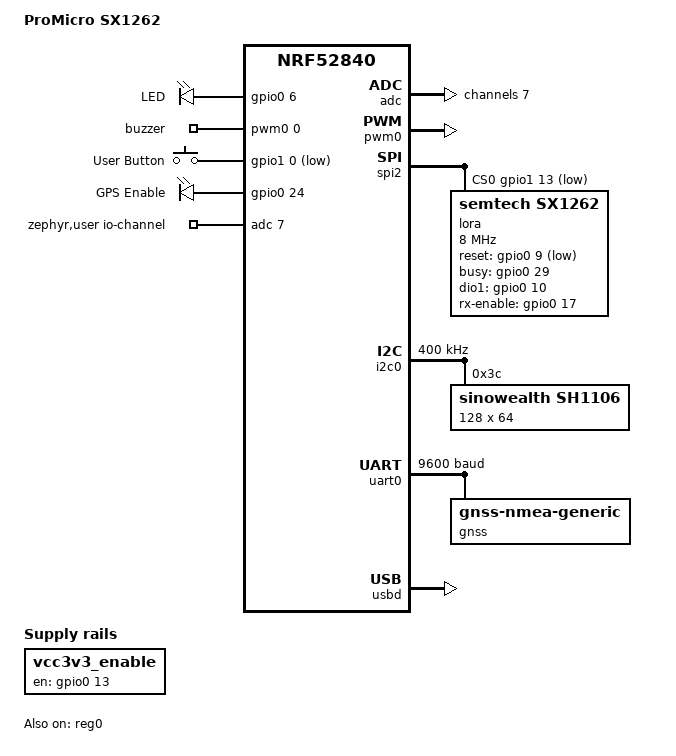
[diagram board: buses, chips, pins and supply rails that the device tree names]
/*
 * ProMicro SX1262 — nRF52840 SuperMini + Ebyte E22-900M30S
 * Copyright (c) 2025 ZephCore
 *
 * SPDX-License-Identifier: MIT
 *
 * Hardware:
 * - nRF52840 (SuperMini/ProMicro form factor) with BLE 5
 * - Ebyte E22-900M30S (SX1262 + 30dB PA), TCXO, DIO2=TXEN, RXEN on P0.17
 * - ATGM336H GPS on UART0 (9600 baud, P0.22 RX, P0.20 TX, P0.24 enable)
 * - Battery ADC on AIN7 (P0.31), 150K+150K divider (2:1)
 * - User button on P1.00, LED on P0.06, PWM buzzer on P0.08
 * - 3V3 enable on P0.13 (must be HIGH for SX1262 to function)
 */

/dts-v1/;
#include <nordic/nrf52840_qiaa.dtsi>
#include "promicro_sx1262-pinctrl.dtsi"
#include <zephyr/dt-bindings/adc/nrf-saadc.h>
#include <zephyr/dt-bindings/input/input-event-codes.h>
#include <zephyr/dt-bindings/lora/sx126x.h>
#include <zephyr/dt-bindings/pwm/pwm.h>

/ {
	model = "ProMicro SX1262";
	compatible = "zephcore,promicro-sx1262";

	chosen {
		zephyr,sram = &sram0;
		zephyr,flash = &flash0;
		zephyr,code-partition = &code_partition;
		zephyr,console = &cdc_acm_uart;
		zephyr,shell-uart = &cdc_acm_uart;
		zephyr,display = &sh1106;
	};

	aliases {
		lora0 = &lora;
		led0 = &led0;
		buzzer = &buzzer;
		sw0 = &user_button;
		watchdog0 = &wdt0;
		gps-enable = &gps_enable_pin;
	};

	leds {
		compatible = "gpio-leds";
		led0: led_0 {
			gpios = <&gpio0 6 GPIO_ACTIVE_HIGH>;
			label = "LED";
		};
	};

	pwmbuzzer {
		compatible = "pwm-leds";
		buzzer: buzzer {
			pwms = <&pwm0 0 PWM_MSEC(20) PWM_POLARITY_NORMAL>;
		};
	};

	buttons: buttons {
		compatible = "gpio-keys";
		user_button: button_0 {
			gpios = <&gpio1 0 (GPIO_PULL_UP | GPIO_ACTIVE_LOW)>;
			zephyr,code = <INPUT_KEY_0>;
			label = "User Button";
		};
	};

	/* Same one-button interaction as Heltec V3:
	 * short tap = page next, double tap = page previous, long press = enter. */
	user_btn_longpress {
		compatible = "zephyr,input-longpress";
		input = <&buttons>;
		input-codes = <INPUT_KEY_0>;
		short-codes = <INPUT_KEY_A>;
		long-codes = <INPUT_KEY_ENTER>;
		long-delay-ms = <1000>;
	};

	page_btn_multitap {
		compatible = "zephcore,input-multi-tap";
		/* KEY_A is emitted by the longpress pseudo-device. */
		input-codes = <INPUT_KEY_A>;
		tap-codes = <INPUT_KEY_1 INPUT_KEY_LEFT>;
		tap-delay-ms = <400>;
	};

	/* 3V3 enable — must be HIGH to power E22-900M30S module */
	vcc3v3_enable: vcc3v3-enable {
		compatible = "regulator-fixed";
		regulator-name = "vcc3v3-enable";
		enable-gpios = <&gpio0 13 GPIO_ACTIVE_HIGH>;
		regulator-boot-on;
		startup-delay-us = <5000>;
	};

	/* GPS power control */
	gps_en: gps-enable {
		compatible = "gpio-leds";
		gps_enable_pin: gps_enable {
			gpios = <&gpio0 24 GPIO_ACTIVE_HIGH>;
			label = "GPS Enable";
		};
	};

	/* Battery ADC: P0.31 (AIN7), calibrated against Meshtastic. */
	zephyr,user {
		io-channels = <&adc 7>;
		vbat-mv-multiplier = <7485>;
	};
};

&reg0 {
	status = "okay";
};

&reg1 {
	regulator-initial-mode = <NRF5X_REG_MODE_DCDC>;
};

&uicr {
	nfct-pins-as-gpios;
};

&gpiote {
	status = "okay";
};

&gpio0 {
	status = "okay";
};

&gpio1 {
	status = "okay";
};

&adc {
	status = "okay";
	#address-cells = <1>;
	#size-cells = <0>;

	/* Battery voltage on P0.31 (AIN7) */
	channel@7 {
		reg = <7>;
		zephyr,gain = "ADC_GAIN_1_6";
		zephyr,reference = "ADC_REF_INTERNAL";
		zephyr,acquisition-time = <ADC_ACQ_TIME(ADC_ACQ_TIME_MICROSECONDS, 10)>;
		zephyr,input-positive = <NRF_SAADC_AIN7>;
		zephyr,resolution = <12>;
	};
};

&pwm0 {
	status = "okay";
	pinctrl-0 = <&pwm0_default>;
	pinctrl-1 = <&pwm0_sleep>;
	pinctrl-names = "default", "sleep";
};

/* ---- SPI2 for SX1262 (Ebyte E22-900M30S) ---- */
&spi2 {
	compatible = "nordic,nrf-spim";
	status = "okay";
	pinctrl-0 = <&spi2_default>;
	pinctrl-1 = <&spi2_sleep>;
	pinctrl-names = "default", "sleep";
	cs-gpios = <&gpio1 13 GPIO_ACTIVE_LOW>;   /* P1.13 SX1262_CS */

	lora: lora@0 {
		compatible = "semtech,sx1262";
		reg = <0>;
		spi-max-frequency = <8000000>;

		reset-gpios = <&gpio0  9 GPIO_ACTIVE_LOW>;
		busy-gpios  = <&gpio0 29 GPIO_ACTIVE_HIGH>;
		dio1-gpios  = <&gpio0 10 (GPIO_PULL_DOWN | GPIO_ACTIVE_HIGH)>;

		/* RF switch: DIO2 drives TXEN, RXEN on P0.17 */
		dio2-tx-enable;
		rx-enable-gpios = <&gpio0 17 GPIO_ACTIVE_HIGH>;

		/* E22-900M30S TCXO, 1.8V supply via DIO3 */
		dio3-tcxo-voltage = <SX126X_DIO3_TCXO_1V8>;
		tcxo-power-startup-delay-ms = <10>;

		/* RX boosted mode for better sensitivity */
		rx-boosted;
	};
};

/* ---- I2C0: Faketec SH1106 OLED and optional sensors ---- */
&i2c0 {
	compatible = "nordic,nrf-twim";
	status = "okay";
	clock-frequency = <I2C_BITRATE_FAST>;
	pinctrl-0 = <&i2c0_default>;
	pinctrl-1 = <&i2c0_sleep>;
	pinctrl-names = "default", "sleep";
	/* SH1106 page writes are 129 bytes; TWIM needs a larger concat buffer. */
	zephyr,concat-buf-size = <256>;
	zephyr,flash-buf-max-size = <256>;

	sh1106: sh1106@3c {
		compatible = "sinowealth,sh1106";
		reg = <0x3c>;
		width = <128>;
		height = <64>;
		segment-offset = <2>;
		page-offset = <0>;
		display-offset = <0>;
		multiplex-ratio = <63>;
		segment-remap;
		com-invdir;
		prechargep = <0x22>;
	};

	/* All supported environment & power sensors — auto-detected at runtime */
	#include "../../common/sensors-i2c.dtsi"
};

/* ---- ATGM336H GPS on UART0 (9600 baud) ----
 * The ATGM336H streams standard NMEA-0183 and is not Air530Z/CASIC hardware.
 * Use Zephyr's passive NMEA parser; deferred init lets ZephyrGPSManager raise
 * GPS_EN before the UART backend starts receiving NMEA sentences. */
&uart0 {
	compatible = "nordic,nrf-uarte";
	status = "okay";
	current-speed = <9600>;
	pinctrl-0 = <&uart0_default>;
	pinctrl-1 = <&uart0_sleep>;
	pinctrl-names = "default", "sleep";

	gnss: gnss {
		compatible = "gnss-nmea-generic";
		zephyr,deferred-init;
	};
};

/* ---- USB CDC for console/CLI ---- */
zephyr_udc0: &usbd {
	compatible = "nordic,nrf-usbd";
	status = "okay";

	cdc_acm_uart: cdc_acm_uart {
		compatible = "zephyr,cdc-acm-uart";
	};
};

/* ---- Flash partitions (SoftDevice v6, app@0x26000) ---- */
#include "../../common/nrf52_partitions_sdv6.dtsi"
#include "../../common/nrf52_wakeup.dtsi"
